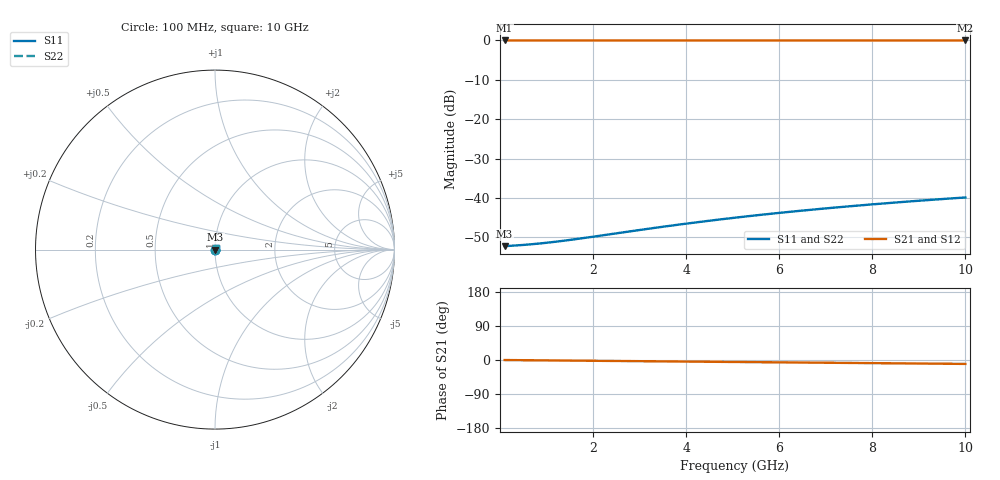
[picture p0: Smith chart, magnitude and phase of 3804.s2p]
# Hz S RI R 50.00
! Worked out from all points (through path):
!   100 points, 100 MHz to 10 GHz, reference 50 ohm
!   highest |S21| = -0.02 dB at 100 MHz (marker M1); lowest = 0.0 dB at 10 GHz (marker M2)
!   group delay of S21, straight-line fit = 2.87 ps
!   lowest |S11| = -52.2 dB at 100 MHz (marker M3), VSWR 1.00, Z = 50.2 + j0.00951 ohm
!   |S11| at or under -10 dB: start of sweep to end of sweep
!   |S22| runs from -52.2 to -39.9 dB; largest |S21 - S12| = 0
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1e8  0.00245 9.46e-05  0.9975 -0.0018  0.9975 -0.0018  0.00245 9.46e-05
5e8  0.0025 0.000473  0.9975 -0.00898  0.9975 -0.00898  0.0025 0.000473
7e8  0.00251 0.000662  0.9974 -0.0126  0.9974 -0.0126  0.00251 0.000662
9e8  0.00253 0.00085  0.9973 -0.0162  0.9973 -0.0162  0.00253 0.00085
1.1e9  0.00255 0.00104  0.9973 -0.0197  0.9973 -0.0197  0.00255 0.00104
1.3e9  0.00256 0.00123  0.9972 -0.0233  0.9972 -0.0233  0.00256 0.00123
1.5e9  0.00258 0.00142  0.9971 -0.0269  0.9971 -0.0269  0.00258 0.00142
1.8e9  0.00261 0.0017  0.9969 -0.0323  0.9969 -0.0323  0.00261 0.0017
2.9e9  0.00272 0.00273  0.996 -0.052  0.996 -0.052  0.00272 0.00273
3.4e9  0.00279 0.0032  0.9955 -0.061  0.9955 -0.061  0.00279 0.0032
3.9e9  0.00286 0.00366  0.9949 -0.07  0.9949 -0.07  0.00286 0.00366
4.3e9  0.00292 0.00403  0.9943 -0.0771  0.9943 -0.0771  0.00292 0.00403
4.7e9  0.00299 0.00441  0.9937 -0.0843  0.9937 -0.0843  0.00299 0.00441
5.1e9  0.00307 0.00477  0.9931 -0.0915  0.9931 -0.0915  0.00307 0.00477
5.5e9  0.00315 0.00514  0.9924 -0.0986  0.9924 -0.0986  0.00315 0.00514
5.9e9  0.00323 0.00551  0.9916 -0.1058  0.9916 -0.1058  0.00323 0.00551
6.3e9  0.00332 0.00587  0.9908 -0.1129  0.9908 -0.1129  0.00332 0.00587
6.7e9  0.00342 0.00624  0.99 -0.12  0.99 -0.12  0.00342 0.00624
7.5e9  0.00363 0.00696  0.9881 -0.1343  0.9881 -0.1343  0.00363 0.00696
8.4e9  0.00389 0.00776  0.9858 -0.1503  0.9858 -0.1503  0.00389 0.00776
9.2e9  0.00414 0.00847  0.9835 -0.1645  0.9835 -0.1645  0.00414 0.00847
1e10  0.00441 0.00917  0.9809 -0.1787  0.9809 -0.1787  0.00441 0.00917
